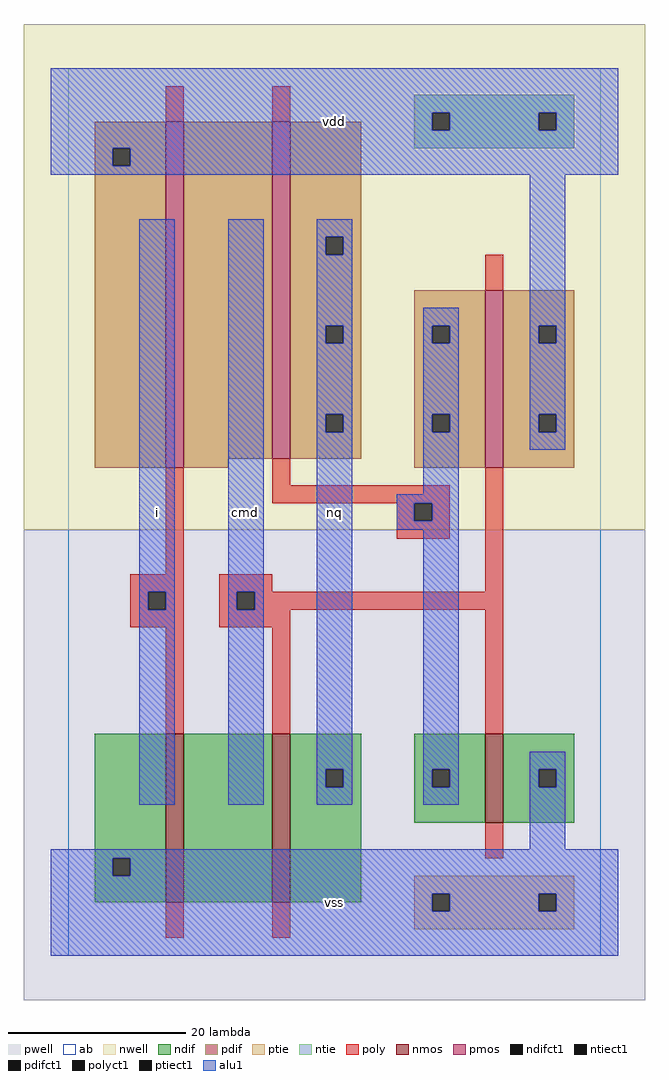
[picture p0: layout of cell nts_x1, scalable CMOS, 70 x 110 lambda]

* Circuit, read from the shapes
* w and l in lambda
.subckt nts_x1 cmd i nq vdd vss
M1 n1 i vss vss nfet w=19 l=2
M2 nq cmd n1 vss nfet w=19 l=2
M3 vss cmd n2 vss nfet w=10 l=2
M4 n3 i vdd vdd pfet w=39 l=2
M5 nq n2 n3 vdd pfet w=38 l=2
M6 vdd cmd n2 vdd pfet w=20 l=2
.ends

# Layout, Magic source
magic
tech scmos
<< ab >>
rect 0 0 60 100
<< nwell >>
rect -5 48 65 105
<< pwell >>
rect -5 -5 65 48
<< poly >>
rect 11 94 13 98
rect 23 94 25 98
rect 47 75 49 79
rect 11 43 13 55
rect 23 53 25 56
rect 23 51 43 53
rect 37 49 39 51
rect 41 49 43 51
rect 37 47 43 49
rect 7 41 13 43
rect 7 39 9 41
rect 11 39 13 41
rect 7 37 13 39
rect 17 41 23 43
rect 47 41 49 55
rect 17 39 19 41
rect 21 39 49 41
rect 17 37 25 39
rect 11 25 13 37
rect 23 25 25 37
rect 47 25 49 39
rect 47 11 49 15
rect 11 2 13 6
rect 23 2 25 6
<< ndif >>
rect 3 11 11 25
rect 3 9 5 11
rect 7 9 11 11
rect 3 6 11 9
rect 13 6 23 25
rect 25 21 33 25
rect 25 19 29 21
rect 31 19 33 21
rect 25 6 33 19
rect 39 21 47 25
rect 39 19 41 21
rect 43 19 47 21
rect 39 15 47 19
rect 49 21 57 25
rect 49 19 53 21
rect 55 19 57 21
rect 49 15 57 19
<< pdif >>
rect 3 91 11 94
rect 3 89 5 91
rect 7 89 11 91
rect 3 55 11 89
rect 13 56 23 94
rect 25 81 33 94
rect 25 79 29 81
rect 31 79 33 81
rect 25 71 33 79
rect 25 69 29 71
rect 31 69 33 71
rect 25 61 33 69
rect 25 59 29 61
rect 31 59 33 61
rect 25 56 33 59
rect 39 71 47 75
rect 39 69 41 71
rect 43 69 47 71
rect 39 61 47 69
rect 39 59 41 61
rect 43 59 47 61
rect 13 55 18 56
rect 39 55 47 59
rect 49 71 57 75
rect 49 69 53 71
rect 55 69 57 71
rect 49 61 57 69
rect 49 59 53 61
rect 55 59 57 61
rect 49 55 57 59
<< alu1 >>
rect -2 95 62 100
rect -2 93 41 95
rect 43 93 53 95
rect 55 93 62 95
rect -2 91 62 93
rect -2 89 5 91
rect 7 89 62 91
rect -2 88 62 89
rect 8 41 12 83
rect 8 39 9 41
rect 11 39 12 41
rect 8 17 12 39
rect 18 41 22 83
rect 18 39 19 41
rect 21 39 22 41
rect 18 17 22 39
rect 28 81 32 83
rect 28 79 29 81
rect 31 79 32 81
rect 28 71 32 79
rect 28 69 29 71
rect 31 69 32 71
rect 28 61 32 69
rect 28 59 29 61
rect 31 59 32 61
rect 28 21 32 59
rect 40 71 44 73
rect 40 69 41 71
rect 43 69 44 71
rect 40 61 44 69
rect 40 59 41 61
rect 43 59 44 61
rect 40 52 44 59
rect 52 71 56 88
rect 52 69 53 71
rect 55 69 56 71
rect 52 61 56 69
rect 52 59 53 61
rect 55 59 56 61
rect 52 57 56 59
rect 37 51 44 52
rect 37 49 39 51
rect 41 49 44 51
rect 37 48 44 49
rect 28 19 29 21
rect 31 19 32 21
rect 28 17 32 19
rect 40 21 44 48
rect 40 19 41 21
rect 43 19 44 21
rect 40 17 44 19
rect 52 21 56 23
rect 52 19 53 21
rect 55 19 56 21
rect 52 12 56 19
rect -2 11 62 12
rect -2 9 5 11
rect 7 9 62 11
rect -2 7 62 9
rect -2 5 41 7
rect 43 5 53 7
rect 55 5 62 7
rect -2 0 62 5
<< ptie >>
rect 39 7 57 9
rect 39 5 41 7
rect 43 5 53 7
rect 55 5 57 7
rect 39 3 57 5
<< ntie >>
rect 39 95 57 97
rect 39 93 41 95
rect 43 93 53 95
rect 55 93 57 95
rect 39 91 57 93
<< nmos >>
rect 11 6 13 25
rect 23 6 25 25
rect 47 15 49 25
<< pmos >>
rect 11 55 13 94
rect 23 56 25 94
rect 47 55 49 75
<< polyct1 >>
rect 39 49 41 51
rect 9 39 11 41
rect 19 39 21 41
<< ndifct1 >>
rect 5 9 7 11
rect 29 19 31 21
rect 41 19 43 21
rect 53 19 55 21
<< ntiect1 >>
rect 41 93 43 95
rect 53 93 55 95
<< ptiect1 >>
rect 41 5 43 7
rect 53 5 55 7
<< pdifct1 >>
rect 5 89 7 91
rect 29 79 31 81
rect 29 69 31 71
rect 29 59 31 61
rect 41 69 43 71
rect 41 59 43 61
rect 53 69 55 71
rect 53 59 55 61
<< labels >>
rlabel alu1 10 50 10 50 6 i
rlabel alu1 30 6 30 6 6 vss
rlabel alu1 20 50 20 50 6 cmd
rlabel alu1 30 50 30 50 6 nq
rlabel alu1 30 94 30 94 6 vdd
<< end >>
